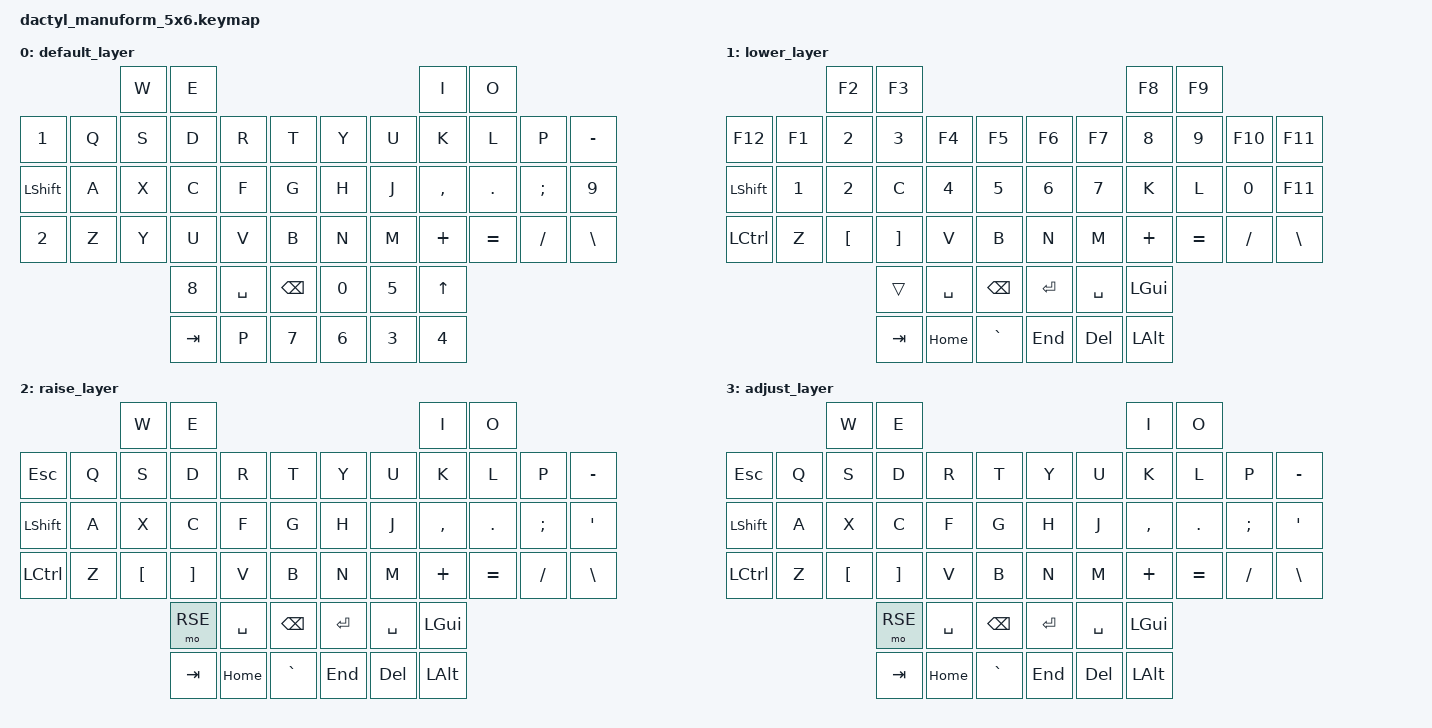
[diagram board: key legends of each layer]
#include <behaviors.dtsi>
#include <dt-bindings/zmk/keys.h>
#include <dt-bindings/zmk/bt.h>
#include <dt-bindings/zmk/outputs.h>

#define DEFAULT 0
#define LWR 1
#define RSE 2
#define ADJ 3

/ {
    keymap {
        compatible = "zmk,keymap";

        default_layer {
        bindings = <
                   &kp W    &kp E                                                  &kp I      &kp O
  &kp N1    &kp Q  &kp S    &kp D    &kp R      &kp T           &kp Y    &kp U     &kp K      &kp L     &kp P    &kp MINUS
  &kp LSHFT &kp A  &kp X    &kp C    &kp F      &kp G           &kp H    &kp J     &kp COMMA  &kp DOT   &kp SEMI &kp N9
  &kp N2    &kp Z  &kp Y    &kp U    &kp V      &kp B           &kp N    &kp M     &kp PLUS   &kp EQUAL &kp FSLH &kp BSLH
                            &kp N8   &kp SPACE  &kp BSPC        &kp N0   &kp N5    &kp UP
                            &kp TAB  &kp P      &kp N7          &kp N6   &kp N3    &kp N4
                                                                                                                                  
                                            
            >;
        };

        lower_layer {
            bindings = <
                             &kp F2   &kp F3                                             &kp F8     &kp F9
            &kp F12   &kp F1 &kp N2   &kp N3   &kp F4     &kp F5      &kp F6   &kp F7    &kp N8     &kp N9    &kp F10    &kp F11
            &kp LSHFT &kp N1 &kp N2   &kp C    &kp N4     &kp N5      &kp N6   &kp N7    &kp K      &kp L     &kp N0     &kp F11
            &kp LCTRL &kp Z  &kp LBKT &kp RBKT &kp V      &kp B       &kp N    &kp M     &kp PLUS   &kp EQUAL &kp FSLH &kp BSLH
                                       &trans  &kp SPACE  &kp BSPC    &kp RET  &kp SPACE &kp LGUI
                                      &kp TAB  &kp HOME   &kp GRAVE   &kp END  &kp DEL   &kp LALT

            >;
        };

        raise_layer {
            bindings = <
                             &kp W    &kp E                                              &kp I      &kp O
            &kp ESC   &kp Q  &kp S    &kp D    &kp R      &kp T       &kp Y    &kp U     &kp K      &kp L     &kp P    &kp MINUS
            &kp LSHFT &kp A  &kp X    &kp C    &kp F      &kp G       &kp H    &kp J     &kp COMMA  &kp DOT   &kp SEMI &kp SQT
            &kp LCTRL &kp Z  &kp LBKT &kp RBKT &kp V      &kp B       &kp N    &kp M     &kp PLUS   &kp EQUAL &kp FSLH &kp BSLH
                                      &mo RSE  &kp SPACE  &kp BSPC    &kp RET  &kp SPACE &kp LGUI
                                      &kp TAB  &kp HOME   &kp GRAVE   &kp END  &kp DEL   &kp LALT
            >;
        };

        adjust_layer {
            bindings = <
                             &kp W    &kp E                                              &kp I      &kp O
            &kp ESC   &kp Q  &kp S    &kp D    &kp R      &kp T       &kp Y    &kp U     &kp K      &kp L     &kp P    &kp MINUS
            &kp LSHFT &kp A  &kp X    &kp C    &kp F      &kp G       &kp H    &kp J     &kp COMMA  &kp DOT   &kp SEMI &kp SQT
            &kp LCTRL &kp Z  &kp LBKT &kp RBKT &kp V      &kp B       &kp N    &kp M     &kp PLUS   &kp EQUAL &kp FSLH &kp BSLH
                                      &mo RSE  &kp SPACE  &kp BSPC    &kp RET  &kp SPACE &kp LGUI
                                      &kp TAB  &kp HOME   &kp GRAVE   &kp END  &kp DEL   &kp LALT
            >;
        };
    };
};
